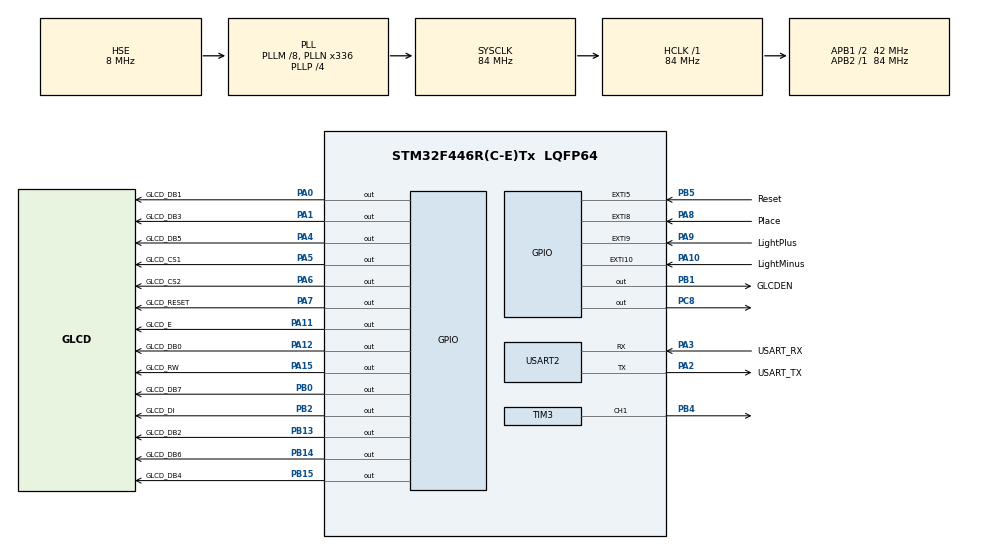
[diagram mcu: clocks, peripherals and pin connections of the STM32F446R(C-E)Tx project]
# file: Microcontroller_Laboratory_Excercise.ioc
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FREERTOS.Tasks01=defaultTask,24,128,StartDefaultTask,Default,NULL,Dynamic,NULL,NULL
FREERTOS.configUSE_NEWLIB_REENTRANT=1
Mcu.Family=STM32F4
Mcu.Name=STM32F446R(C-E)Tx
Mcu.Package=LQFP64
NVIC.EXTI15_10_IRQn=true\:5\:0\:false\:false\:true\:true\:true\:true\:true
NVIC.EXTI9_5_IRQn=true\:5\:0\:false\:false\:true\:true\:true\:true\:true
NVIC.PriorityGroup=NVIC_PRIORITYGROUP_4
NVIC.TIM1_UP_TIM10_IRQn=true\:15\:0\:false\:false\:true\:false\:false\:true\:true
NVIC.TimeBase=TIM1_UP_TIM10_IRQn
NVIC.TimeBaseIP=TIM1
PA0-WKUP.GPIO_Label=GLCD_DB1
PA0-WKUP.GPIO_Speed=GPIO_SPEED_FREQ_LOW
PA0-WKUP.Signal=GPIO_Output
PA1.GPIO_Label=GLCD_DB3
PA1.GPIO_Speed=GPIO_SPEED_FREQ_LOW
PA1.Signal=GPIO_Output
PA10.GPIO_Label=LightMinus
PA10.GPIO_ModeDefaultEXTI=GPIO_MODE_IT_FALLING
PA10.GPIO_PuPd=GPIO_PULLUP
PA10.Signal=GPXTI10
PA11.GPIO_Label=GLCD_E
PA11.GPIO_Speed=GPIO_SPEED_FREQ_LOW
PA11.Signal=GPIO_Output
PA12.GPIO_Label=GLCD_DB0
PA12.GPIO_Speed=GPIO_SPEED_FREQ_LOW
PA12.Signal=GPIO_Output
PA13.Mode=Serial_Wire
PA13.Signal=SYS_JTMS-SWDIO
PA14.Mode=Serial_Wire
PA14.Signal=SYS_JTCK-SWCLK
PA15.GPIO_Label=GLCD_RW
PA15.Signal=GPIO_Output
PA2.GPIO_Label=USART_TX
PA2.Mode=Asynchronous
PA2.Signal=USART2_TX
PA3.GPIO_Label=USART_RX
PA3.Mode=Asynchronous
PA3.Signal=USART2_RX
PA4.GPIO_Label=GLCD_DB5
PA4.GPIO_Speed=GPIO_SPEED_FREQ_LOW
PA4.Signal=GPIO_Output
PA5.GPIO_Label=GLCD_CS1
PA5.GPIO_Speed=GPIO_SPEED_FREQ_LOW
PA5.Signal=GPIO_Output
PA6.GPIO_Label=GLCD_CS2
PA6.GPIO_Speed=GPIO_SPEED_FREQ_LOW
PA6.Signal=GPIO_Output
PA7.GPIO_Label=GLCD_RESET
PA7.GPIO_Speed=GPIO_SPEED_FREQ_LOW
PA7.Signal=GPIO_Output
PA8.GPIO_Label=Place
PA8.GPIO_ModeDefaultEXTI=GPIO_MODE_IT_FALLING
PA8.GPIO_PuPd=GPIO_PULLUP
PA8.Signal=GPXTI8
PA9.GPIO_Label=LightPlus
PA9.GPIO_ModeDefaultEXTI=GPIO_MODE_IT_FALLING
PA9.GPIO_PuPd=GPIO_PULLUP
PA9.Signal=GPXTI9
PB0.GPIO_Label=GLCD_DB7
PB0.GPIO_Speed=GPIO_SPEED_FREQ_LOW
PB0.Signal=GPIO_Output
PB1.GPIO_Label=GLCDEN
PB1.GPIO_Speed=GPIO_SPEED_FREQ_LOW
PB1.Signal=GPIO_Output
PB13.GPIO_Label=GLCD_DB2
PB13.GPIO_Speed=GPIO_SPEED_FREQ_LOW
PB13.Signal=GPIO_Output
PB14.GPIO_Label=GLCD_DB6
PB14.GPIO_Speed=GPIO_SPEED_FREQ_LOW
PB14.Signal=GPIO_Output
PB15.GPIO_Label=GLCD_DB4
PB15.GPIO_Speed=GPIO_SPEED_FREQ_LOW
PB15.Signal=GPIO_Output
PB2.GPIO_Label=GLCD_DI
PB2.GPIO_Speed=GPIO_SPEED_FREQ_LOW
PB2.Signal=GPIO_Output
PB3.GPIO_Label=SWO
PB3.Signal=SYS_JTDO-SWO
PB4.Signal=S_TIM3_CH1
PB5.GPIO_Label=Reset
PB5.GPIO_ModeDefaultEXTI=GPIO_MODE_IT_FALLING
PB5.GPIO_PuPd=GPIO_PULLUP
PB5.Signal=GPXTI5
PC14-OSC32_IN.Mode=LSE-External-Oscillator
PC14-OSC32_IN.Signal=RCC_OSC32_IN
PC15-OSC32_OUT.Mode=LSE-External-Oscillator
PC15-OSC32_OUT.Signal=RCC_OSC32_OUT
PC8.GPIO_PuPd=GPIO_PULLUP
PC8.Signal=GPIO_Output
PH0-OSC_IN.Mode=HSE-External-Oscillator
PH0-OSC_IN.Signal=RCC_OSC_IN
PH1-OSC_OUT.Mode=HSE-External-Oscillator
PH1-OSC_OUT.Signal=RCC_OSC_OUT
ProjectManager.HeapSize=0x200
ProjectManager.StackSize=0x400
ProjectManager.TargetToolchain=STM32CubeIDE
RCC.48MHZClocksFreq_Value=84000000
RCC.AHBFreq_Value=84000000
RCC.APB1CLKDivider=RCC_HCLK_DIV2
RCC.APB1Freq_Value=42000000
RCC.APB1TimFreq_Value=84000000
RCC.APB2Freq_Value=84000000
RCC.APB2TimFreq_Value=84000000
RCC.CortexFreq_Value=84000000
RCC.FLatency-AdvancedSettings=FLASH_LATENCY_2
RCC.HCLKFreq_Value=84000000
RCC.HSE_VALUE=8000000
RCC.HSI_VALUE=16000000
RCC.PLLM=8
RCC.PLLN=336
RCC.PLLP=RCC_PLLP_DIV4
RCC.PLLSourceVirtual=RCC_PLLSOURCE_HSE
RCC.SYSCLKFreq_VALUE=84000000
RCC.SYSCLKSource=RCC_SYSCLKSOURCE_PLLCLK
RCC.USBFreq_Value=168000000
RCC.VCOOutputFreq_Value=336000000
SH.S_TIM3_CH1.0=TIM3_CH1,PWM Generation1 CH1
TIM3.Channel-PWM\ Generation1\ CH1=TIM_CHANNEL_1
TIM3.Period=999
TIM3.Prescaler=84
TIM3.Pulse-PWM\ Generation1\ CH1=500
TIM4.Prescaler=84-1
USART2.VirtualMode=VM_ASYNC
VP_FREERTOS_VS_CMSIS_V2.Mode=CMSIS_V2
VP_SYS_VS_tim1.Mode=TIM1
VP_TIM3_VS_ClockSourceINT.Mode=Internal
VP_TIM4_VS_ClockSourceINT.Mode=Internal
board=NUCLEO-F446RE

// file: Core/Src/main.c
/* USER CODE BEGIN Header */
/**
  ******************************************************************************
  * @file           : main.c
  * @brief          : Main program body
  ******************************************************************************
  * @attention
  *
  * Copyright (c) 2025 STMicroelectronics.
  * All rights reserved.
  *
  * This software is licensed under terms that can be found in the LICENSE file
  * in the root directory of this software component.
  * If no LICENSE file comes with this software, it is provided AS-IS.
  *
  ******************************************************************************
  */
/* USER CODE END Header */
#include "main.h"
#include "cmsis_os.h"

/* USER CODE BEGIN Includes */
#include "mytasks.h"
/* USER CODE END Includes */

TIM_HandleTypeDef htim3;
TIM_HandleTypeDef htim4;

UART_HandleTypeDef huart2;

/* Definitions for defaultTask */
osThreadId_t defaultTaskHandle;
const osThreadAttr_t defaultTask_attributes = {
  .name = "defaultTask",
  .stack_size = 128 * 4,
  .priority = (osPriority_t) osPriorityNormal,
};

void SystemClock_Config(void);
static void MX_GPIO_Init(void);
static void MX_USART2_UART_Init(void);
static void MX_TIM4_Init(void);
static void MX_TIM3_Init(void);
void StartDefaultTask(void *argument);

int main(void)
{

  /* MCU Configuration--------------------------------------------------------*/

  /* Reset of all peripherals, Initializes the Flash interface and the Systick. */
  HAL_Init();

  /* Configure the system clock */
  SystemClock_Config();

  /* Initialize all configured peripherals */
  MX_GPIO_Init();
  MX_USART2_UART_Init();
  MX_TIM4_Init();
  MX_TIM3_Init();
  /* USER CODE BEGIN 2 */
  HAL_TIM_PWM_Start(&htim3, TIM_CHANNEL_1);
  __HAL_TIM_SET_COMPARE(&htim3, TIM_CHANNEL_1, glcdBacklightLevel);

  CoreDebug->DEMCR |= CoreDebug_DEMCR_TRCENA_Msk;
  DWT->CTRL |= DWT_CTRL_CYCCNTENA_Msk;
  /* USER CODE END 2 */

  /* Init scheduler */
  osKernelInitialize();

  /* Create the thread(s) */
  /* creation of defaultTask */
  defaultTaskHandle = osThreadNew(StartDefaultTask, NULL, &defaultTask_attributes);

  /* USER CODE BEGIN RTOS_EVENTS */
  /* add events, ... */
  createMyTasksInitTaskHandle = osThreadNew(CreateMyTasksInitTask, NULL, &createMyTasksInitTask_attributes);
  /* USER CODE END RTOS_EVENTS */

  /* Start scheduler */
  osKernelStart();

  /* We should never get here as control is now taken by the scheduler */

  /* Infinite loop */
  while (1)
  {

  }
}

void SystemClock_Config(void)
{
  RCC_OscInitTypeDef RCC_OscInitStruct = {0};
  RCC_ClkInitTypeDef RCC_ClkInitStruct = {0};

  /** Configure the main internal regulator output voltage
  */
  __HAL_RCC_PWR_CLK_ENABLE();
  __HAL_PWR_VOLTAGESCALING_CONFIG(PWR_REGULATOR_VOLTAGE_SCALE3);

  /** Initializes the RCC Oscillators according to the specified parameters
  * in the RCC_OscInitTypeDef structure.
  */
  RCC_OscInitStruct.OscillatorType = RCC_OSCILLATORTYPE_HSE;
  RCC_OscInitStruct.HSEState = RCC_HSE_ON;
  RCC_OscInitStruct.PLL.PLLState = RCC_PLL_ON;
  RCC_OscInitStruct.PLL.PLLSource = RCC_PLLSOURCE_HSE;
  RCC_OscInitStruct.PLL.PLLM = 8;
  RCC_OscInitStruct.PLL.PLLN = 336;
  RCC_OscInitStruct.PLL.PLLP = RCC_PLLP_DIV4;
  RCC_OscInitStruct.PLL.PLLQ = 2;
  RCC_OscInitStruct.PLL.PLLR = 2;
  if (HAL_RCC_OscConfig(&RCC_OscInitStruct) != HAL_OK)
  {
    Error_Handler();
  }

  /** Initializes the CPU, AHB and APB buses clocks
  */
  RCC_ClkInitStruct.ClockType = RCC_CLOCKTYPE_HCLK|RCC_CLOCKTYPE_SYSCLK
                              |RCC_CLOCKTYPE_PCLK1|RCC_CLOCKTYPE_PCLK2;
  RCC_ClkInitStruct.SYSCLKSource = RCC_SYSCLKSOURCE_PLLCLK;
  RCC_ClkInitStruct.AHBCLKDivider = RCC_SYSCLK_DIV1;
  RCC_ClkInitStruct.APB1CLKDivider = RCC_HCLK_DIV2;
  RCC_ClkInitStruct.APB2CLKDivider = RCC_HCLK_DIV1;

  if (HAL_RCC_ClockConfig(&RCC_ClkInitStruct, FLASH_LATENCY_2) != HAL_OK)
  {
    Error_Handler();
  }
}

static void MX_TIM3_Init(void)
{

  TIM_ClockConfigTypeDef sClockSourceConfig = {0};
  TIM_MasterConfigTypeDef sMasterConfig = {0};
  TIM_OC_InitTypeDef sConfigOC = {0};

  htim3.Instance = TIM3;
  htim3.Init.Prescaler = 84;
  htim3.Init.CounterMode = TIM_COUNTERMODE_UP;
  htim3.Init.Period = 999;
  htim3.Init.ClockDivision = TIM_CLOCKDIVISION_DIV1;
  htim3.Init.AutoReloadPreload = TIM_AUTORELOAD_PRELOAD_DISABLE;
  if (HAL_TIM_Base_Init(&htim3) != HAL_OK)
  {
    Error_Handler();
  }
  sClockSourceConfig.ClockSource = TIM_CLOCKSOURCE_INTERNAL;
  if (HAL_TIM_ConfigClockSource(&htim3, &sClockSourceConfig) != HAL_OK)
  {
    Error_Handler();
  }
  if (HAL_TIM_PWM_Init(&htim3) != HAL_OK)
  {
    Error_Handler();
  }
  sMasterConfig.MasterOutputTrigger = TIM_TRGO_RESET;
  sMasterConfig.MasterSlaveMode = TIM_MASTERSLAVEMODE_DISABLE;
  if (HAL_TIMEx_MasterConfigSynchronization(&htim3, &sMasterConfig) != HAL_OK)
  {
    Error_Handler();
  }
  sConfigOC.OCMode = TIM_OCMODE_PWM1;
  sConfigOC.Pulse = 500;
  sConfigOC.OCPolarity = TIM_OCPOLARITY_HIGH;
  sConfigOC.OCFastMode = TIM_OCFAST_DISABLE;
  if (HAL_TIM_PWM_ConfigChannel(&htim3, &sConfigOC, TIM_CHANNEL_1) != HAL_OK)
  {
    Error_Handler();
  }
  HAL_TIM_MspPostInit(&htim3);

}

static void MX_TIM4_Init(void)
{

  TIM_ClockConfigTypeDef sClockSourceConfig = {0};
  TIM_MasterConfigTypeDef sMasterConfig = {0};

  htim4.Instance = TIM4;
  htim4.Init.Prescaler = 84-1;
  htim4.Init.CounterMode = TIM_COUNTERMODE_UP;
  htim4.Init.Period = 65535;
  htim4.Init.ClockDivision = TIM_CLOCKDIVISION_DIV1;
  htim4.Init.AutoReloadPreload = TIM_AUTORELOAD_PRELOAD_DISABLE;
  if (HAL_TIM_Base_Init(&htim4) != HAL_OK)
  {
    Error_Handler();
  }
  sClockSourceConfig.ClockSource = TIM_CLOCKSOURCE_INTERNAL;
  if (HAL_TIM_ConfigClockSource(&htim4, &sClockSourceConfig) != HAL_OK)
  {
    Error_Handler();
  }
  sMasterConfig.MasterOutputTrigger = TIM_TRGO_RESET;
  sMasterConfig.MasterSlaveMode = TIM_MASTERSLAVEMODE_DISABLE;
  if (HAL_TIMEx_MasterConfigSynchronization(&htim4, &sMasterConfig) != HAL_OK)
  {
    Error_Handler();
  }

}

static void MX_USART2_UART_Init(void)
{

  huart2.Instance = USART2;
  huart2.Init.BaudRate = 115200;
  huart2.Init.WordLength = UART_WORDLENGTH_8B;
  huart2.Init.StopBits = UART_STOPBITS_1;
  huart2.Init.Parity = UART_PARITY_NONE;
  huart2.Init.Mode = UART_MODE_TX_RX;
  huart2.Init.HwFlowCtl = UART_HWCONTROL_NONE;
  huart2.Init.OverSampling = UART_OVERSAMPLING_16;
  if (HAL_UART_Init(&huart2) != HAL_OK)
  {
    Error_Handler();
  }

}

static void MX_GPIO_Init(void)
{
  GPIO_InitTypeDef GPIO_InitStruct = {0};

  /* GPIO Ports Clock Enable */
  __HAL_RCC_GPIOC_CLK_ENABLE();
  __HAL_RCC_GPIOH_CLK_ENABLE();
  __HAL_RCC_GPIOA_CLK_ENABLE();
  __HAL_RCC_GPIOB_CLK_ENABLE();

  /*Configure GPIO pin Output Level */
  HAL_GPIO_WritePin(GPIOA, GLCD_DB1_Pin|GLCD_DB3_Pin|GLCD_DB5_Pin|GLCD_CS1_Pin
                          |GLCD_CS2_Pin|GLCD_RESET_Pin|GLCD_E_Pin|GLCD_DB0_Pin
                          |GLCD_RW_Pin, GPIO_PIN_RESET);

  /*Configure GPIO pin Output Level */
  HAL_GPIO_WritePin(GPIOB, GLCD_DB7_Pin|GLCDEN_Pin|GLCD_DI_Pin|GLCD_DB2_Pin
                          |GLCD_DB6_Pin|GLCD_DB4_Pin, GPIO_PIN_RESET);

  /*Configure GPIO pin Output Level */
  HAL_GPIO_WritePin(GPIOC, GPIO_PIN_8, GPIO_PIN_RESET);

  /*Configure GPIO pins : GLCD_DB1_Pin GLCD_DB3_Pin GLCD_DB5_Pin GLCD_CS1_Pin
                           GLCD_CS2_Pin GLCD_RESET_Pin GLCD_E_Pin GLCD_DB0_Pin
                           GLCD_RW_Pin */
  GPIO_InitStruct.Pin = GLCD_DB1_Pin|GLCD_DB3_Pin|GLCD_DB5_Pin|GLCD_CS1_Pin
                          |GLCD_CS2_Pin|GLCD_RESET_Pin|GLCD_E_Pin|GLCD_DB0_Pin
                          |GLCD_RW_Pin;
  GPIO_InitStruct.Mode = GPIO_MODE_OUTPUT_PP;
  GPIO_InitStruct.Pull = GPIO_NOPULL;
  GPIO_InitStruct.Speed = GPIO_SPEED_FREQ_LOW;
  HAL_GPIO_Init(GPIOA, &GPIO_InitStruct);

  /*Configure GPIO pins : GLCD_DB7_Pin GLCDEN_Pin GLCD_DI_Pin GLCD_DB2_Pin
                           GLCD_DB6_Pin GLCD_DB4_Pin */
  GPIO_InitStruct.Pin = GLCD_DB7_Pin|GLCDEN_Pin|GLCD_DI_Pin|GLCD_DB2_Pin
                          |GLCD_DB6_Pin|GLCD_DB4_Pin;
  GPIO_InitStruct.Mode = GPIO_MODE_OUTPUT_PP;
  GPIO_InitStruct.Pull = GPIO_NOPULL;
  GPIO_InitStruct.Speed = GPIO_SPEED_FREQ_LOW;
  HAL_GPIO_Init(GPIOB, &GPIO_InitStruct);

  /*Configure GPIO pin : PC8 */
  GPIO_InitStruct.Pin = GPIO_PIN_8;
  GPIO_InitStruct.Mode = GPIO_MODE_OUTPUT_PP;
  GPIO_InitStruct.Pull = GPIO_PULLUP;
  GPIO_InitStruct.Speed = GPIO_SPEED_FREQ_LOW;
  HAL_GPIO_Init(GPIOC, &GPIO_InitStruct);

  /*Configure GPIO pins : Place_Pin LightPlus_Pin LightMinus_Pin */
  GPIO_InitStruct.Pin = Place_Pin|LightPlus_Pin|LightMinus_Pin;
  GPIO_InitStruct.Mode = GPIO_MODE_IT_FALLING;
  GPIO_InitStruct.Pull = GPIO_PULLUP;
  HAL_GPIO_Init(GPIOA, &GPIO_InitStruct);

  /*Configure GPIO pin : Reset_Pin */
  GPIO_InitStruct.Pin = Reset_Pin;
  GPIO_InitStruct.Mode = GPIO_MODE_IT_FALLING;
  GPIO_InitStruct.Pull = GPIO_PULLUP;
  HAL_GPIO_Init(Reset_GPIO_Port, &GPIO_InitStruct);

  /* EXTI interrupt init*/
  HAL_NVIC_SetPriority(EXTI9_5_IRQn, 5, 0);
  HAL_NVIC_EnableIRQ(EXTI9_5_IRQn);

  HAL_NVIC_SetPriority(EXTI15_10_IRQn, 5, 0);
  HAL_NVIC_EnableIRQ(EXTI15_10_IRQn);

}

void StartDefaultTask(void *argument)
{
  for(;;)
  {
    osDelay(1);
  }
}

void HAL_TIM_PeriodElapsedCallback(TIM_HandleTypeDef *htim)
{
  if (htim->Instance == TIM1) {
    HAL_IncTick();
  }
}

void Error_Handler(void)
{
  __disable_irq();
  while (1)
  {
  }
}

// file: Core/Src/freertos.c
/* USER CODE BEGIN Header */
/**
  ******************************************************************************
  * File Name          : freertos.c
  * Description        : Code for freertos applications
  ******************************************************************************
  * @attention
  *
  * Copyright (c) 2025 STMicroelectronics.
  * All rights reserved.
  *
  * This software is licensed under terms that can be found in the LICENSE file
  * in the root directory of this software component.
  * If no LICENSE file comes with this software, it is provided AS-IS.
  *
  ******************************************************************************
  */
/* USER CODE END Header */

#include "FreeRTOS.h"
#include "task.h"
#include "main.h"

/* USER CODE BEGIN Includes */
#include "mytasks.h"
/* USER CODE END Includes */

/* USER CODE BEGIN PTD */
typedef struct
{
    uint8_t *pData;
    uint16_t length;
    uint32_t Timeout;
} UartTaskParams_t;
/* USER CODE END PTD */

/* USER CODE BEGIN Variables */
volatile uint16_t glcdBacklightLevel = GLCD_BACKLIGHT_START;
volatile uint16_t score = 0;
osMessageQueueId_t uartQueueHandle;

osThreadId_t createMyTasksInitTaskHandle;
osThreadId_t uartCommunicationTaskHandle;
osThreadId_t glcdUpdateTaskHandle;
osThreadId_t glcdBacklightControlTaskHandle;
osThreadId_t glcdBacklightPlusTaskHandle;
osThreadId_t glcdBacklightMinusTaskHandle;
osThreadId_t resetTaskHandle;

const osThreadAttr_t createMyTasksInitTask_attributes =
{
  .name = "CreateMyTasksInitTask",
  .stack_size = 128 * 4,
  .priority = (osPriority_t) osPriorityNormal,
};

const osThreadAttr_t uartCommunicationTask_attributes =
{
  .name = "UartCommunicationTask",
  .stack_size = 128 * 4,
  .priority = (osPriority_t) osPriorityNormal,
};

const osThreadAttr_t glcdUpdateTask_attributes =
{
  .name = "LcdUpdateTask",
  .stack_size = 128 * 4,
  .priority = (osPriority_t) osPriorityNormal,
};

const osThreadAttr_t glcdBacklightControlTask_attributes =
{
  .name = "BacklightControlTask",
  .stack_size = 128 * 4,
  .priority = (osPriority_t) osPriorityNormal,
};

const osThreadAttr_t glcdBacklightPlusTask_attributes =
{
  .name = "BacklightControlTask",
  .stack_size = 128 * 4,
  .priority = (osPriority_t) osPriorityNormal,
};

const osThreadAttr_t glcdBacklightMinusTask_attributes =
{
  .name = "BacklightControlTask",
  .stack_size = 128 * 4,
  .priority = (osPriority_t) osPriorityNormal,
};

const osThreadAttr_t resetTask_attributes =
{
  .name = "ResetTask",
  .stack_size = 128 * 4,
  .priority = (osPriority_t) osPriorityNormal+1,
};
/* USER CODE END Variables */

/* USER CODE BEGIN Application */
void CreateMyTasksInitTask(void *argument)
{
	// Initialize the lcd
	GlcdInit();

	// create the queue for the uart task
	uartQueueHandle = osMessageQueueNew(UART_QUEUE_LENGTH, sizeof(UartTaskParams_t), NULL);

	// Create tasks
	uartCommunicationTaskHandle = osThreadNew(UartCommunicationTask, NULL, &uartCommunicationTask_attributes);
	glcdUpdateTaskHandle = osThreadNew(GlcdUpdateTask, NULL, &glcdUpdateTask_attributes);
	glcdBacklightControlTaskHandle = osThreadNew(GlcdBacklightControlTask, NULL, &glcdBacklightControlTask_attributes);
	glcdBacklightPlusTaskHandle = osThreadNew(GlcdBacklightPlusTask, NULL, &glcdBacklightPlusTask_attributes);
	glcdBacklightMinusTaskHandle = osThreadNew(GlcdBacklightMinusTask, NULL, &glcdBacklightMinusTask_attributes);
	resetTaskHandle = osThreadNew(ResetTask, NULL, &resetTask_attributes);

	// Delete self
	vTaskDelete(createMyTasksInitTaskHandle);
	while(1);
}

void UartCommunicationTask(void *argument)
{
	UartTaskParams_t params;
	while (1)
	{
		if (osMessageQueueGet(uartQueueHandle, &params, NULL, osWaitForever) == osOK)
		{
			HAL_UART_Transmit(&huart2, params.pData, params.length, params.Timeout);
		}
	}
}

void GlcdUpdateTask(void *argument)
{
	int8_t direction = -1; // Start moving "up" (to 0)
	uint8_t position = BLOCK_RIGHT_MARGIN;
	uint16_t gameSpeed = GLCD_DEFAULT_REFRESH_SPEED;
	const int gameSpeedMin = 5;
	bool moveBlocksEnabled = false;
	int currentWidth = BLOCK_WIDTH;

	static char scoreMsgStatic[8];
	UartTaskParams_t uartMsg;
	uartMsg.Timeout = 100;

	BlockRect currentBlock;
	BlockRect prevBlock;
	prevBlock.rightX = BLOCK_RIGHT_MARGIN;
	prevBlock.leftX = BLOCK_RIGHT_MARGIN + BLOCK_WIDTH - 1;

	GlcdDrawStartBG(position,currentWidth);
	GlcdPrintFromImageBuffer(GLCD_DEFAULT_REFRESH_SPEED);

	while (1)
	{
		// Check for notification (non-blocking)
		if (ulTaskNotifyTake(pdTRUE, 0))
		{
			if (!moveBlocksEnabled && glcdCurrentLevel >= 3)
				moveBlocksEnabled = true;

			if (!AlignAndTrimBlock(&prevBlock, &currentBlock))
			{
				// No overlap = game over
				GlcdDrawGameOver(score);

				// Prepare the score as a string (e.g., "34\r\n")
				snprintf(scoreMsgStatic, sizeof(scoreMsgStatic), "%d\r\n", score);

				// Prepare the struct
				uartMsg.pData = (uint8_t*)scoreMsgStatic;
				uartMsg.length = strlen(scoreMsgStatic);

				// Send to UART queue (wait max 10ms if queue is full)
				osMessageQueuePut(uartQueueHandle, &uartMsg, 0, 10);

				if(ulTaskNotifyTake(pdTRUE, portMAX_DELAY))
				{
					score = 0;
					direction = -1; // Start moving "up" (to 0)
					position = BLOCK_RIGHT_MARGIN;
					gameSpeed = GLCD_DEFAULT_REFRESH_SPEED;
					moveBlocksEnabled = false;
					currentWidth = BLOCK_WIDTH;

					prevBlock.rightX = BLOCK_RIGHT_MARGIN;
					prevBlock.leftX = BLOCK_RIGHT_MARGIN + BLOCK_WIDTH - 1;

					GlcdDrawStartBG(position,currentWidth);
					GlcdPrintFromImageBuffer(GLCD_DEFAULT_REFRESH_SPEED);
					continue;
				}
			}
			else
			{
				// Block survived, update for next round
				prevBlock = currentBlock;
				currentWidth = currentBlock.leftX - currentBlock.rightX + 1;
				position=currentBlock.rightX;
				score++;
				if ((score % 5 == 0) && (gameSpeed > gameSpeedMin))
				{
				    gameSpeed -= 4;
				    if (gameSpeed < gameSpeedMin)
				        gameSpeed = gameSpeedMin;
				}

			}

			ClearBlocksFromLevel(glcdCurrentLevel);
			GlcdDrawNewFilledBlock(currentBlock.rightX,currentWidth);

			if (moveBlocksEnabled)
			{
				MoveAllBlockDown(1);
				// Do not increment glcdCurrentLevel, so moving block stays at the same spot
			}
			else
			{
				glcdCurrentLevel++; // Regular increment for first 3 rounds
			}
		}

		// Do animation as usual
		ClearBlocksFromLevel(glcdCurrentLevel);
	    GlcdDrawNewBlock(position,currentWidth);
	    UpdateScoreDisplay(score);
	    GlcdPrintFromImageBuffer(gameSpeed);

	    currentBlock.rightX = position;
	    currentBlock.leftX = position + currentWidth - 1;

	    // Bounce logic
	    if (direction < 0) // Going "up" (to 0)
	    {
	        if (position > 0)
	            position--;
	        else
	            direction = 1; // Hit top, reverse
	    }
	    else // Going "down" (to 64 - BLOCK_WIDTH)
	    {
	    	if (position < (64 - currentWidth))
	            position++;
	        else
	            direction = -1; // Hit bottom, reverse
	    }

	}
}

void GlcdBacklightControlTask (void *argument)
{
	uint8_t prevLevel = 0xFF; // Force first update
	while(1)
	{
		if (glcdBacklightLevel != prevLevel)
		{
			// Update PWM compare (duty cycle)
			__HAL_TIM_SET_COMPARE(&PWM_TIMER, PWM_CHANNEL, glcdBacklightLevel); // 100-1000 for 10%-100%
			prevLevel = glcdBacklightLevel;
		}
		osDelay(10); // Polling period (adjust as needed)
	}
}

void GlcdBacklightPlusTask (void *argument)
{
	while(1)
	{
		ulTaskNotifyTake(pdTRUE, portMAX_DELAY); // Wait for notification (blocks until given)
		vTaskDelay(pdMS_TO_TICKS(20)); // crude debounce
		// Do the light+
		if (glcdBacklightLevel+GLCD_BACKLIGHT_STEP < GLCD_BACKLIGHT_MAX)
		{
			glcdBacklightLevel += GLCD_BACKLIGHT_STEP;
		}
		else
		{
			glcdBacklightLevel = GLCD_BACKLIGHT_MAX;
		}
	}
}

void GlcdBacklightMinusTask (void *argument)
{
	while(1)
	{
		ulTaskNotifyTake(pdTRUE, portMAX_DELAY); // Wait for notification (blocks until given)
		vTaskDelay(pdMS_TO_TICKS(20)); // crude debounce
		// Do the light-
		if (glcdBacklightLevel-GLCD_BACKLIGHT_STEP > GLCD_BACKLIGHT_MIN)
		{
			glcdBacklightLevel -= GLCD_BACKLIGHT_STEP;
		}
		else
		{
			glcdBacklightLevel = GLCD_BACKLIGHT_MIN;
		}
	}
}

void ResetTask(void *argument)
{
    while(1)
    {
		ulTaskNotifyTake(pdTRUE, portMAX_DELAY); // Wait for notification (blocks until given)
		vTaskDelay(pdMS_TO_TICKS(20)); // crude debounce
		NVIC_SystemReset(); // Do the reset
    }
}
/* USER CODE END Application */
